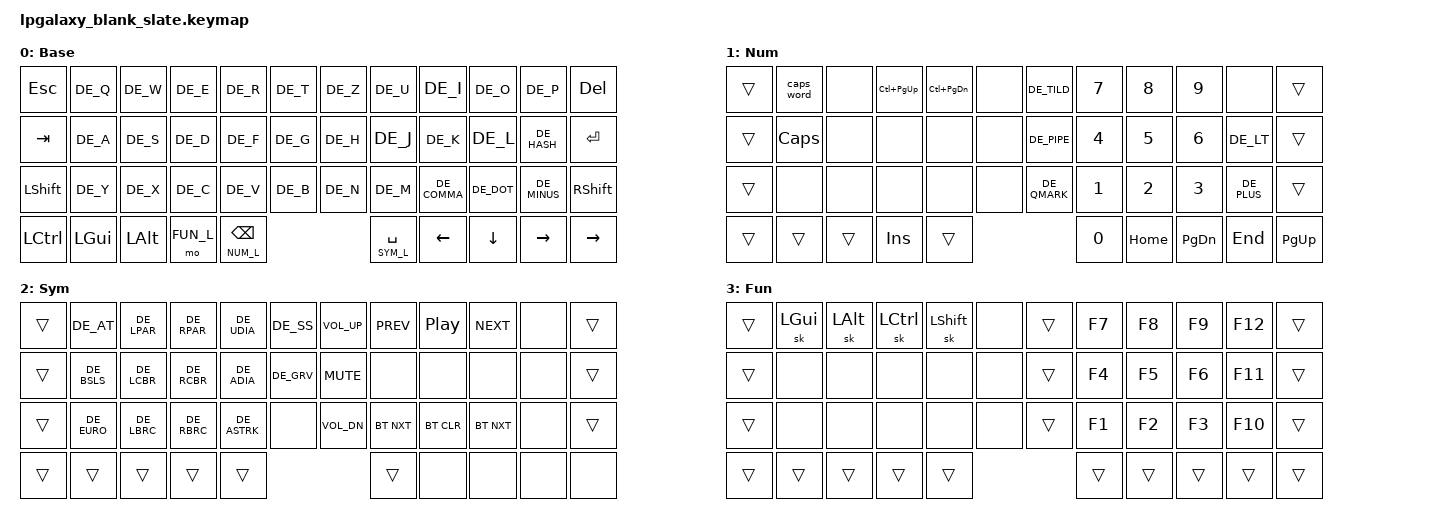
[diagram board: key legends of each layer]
/*
 * Copyright (c) 2022 Pete Johanson
 *
 * SPDX-License-Identifier: MIT
 */

#include <behaviors.dtsi>
#include <dt-bindings/zmk/keys.h>
#include <dt-bindings/zmk/bt.h>
#include <dt-bindings/zmk/outputs.h>
#include "keys_de.h"

#define NUM_L 1
#define SYM_L 2
#define FUN_L 3

// Using layer taps on thumbs, having quick tap as well helps w/ repeating space/backspace
&lt { quick_tap_ms = <190>; };

&caps_word {
    continue-list = <UNDERSCORE MINUS BSPC DEL>;
};

/ {
    chosen {
       zmk,matrix_transform =
                       &dual_2u_transform;
    };

    keymap {
        compatible = "zmk,keymap";

        base_layer {
            label = "Base";
            bindings = <
&kp ESC    &kp DE_Q      &kp DE_W      &kp DE_E       &kp DE_R          &kp DE_T          &kp DE_Z            &kp DE_U          &kp DE_I       &kp DE_O      &kp DE_P         &kp DEL
&kp TAB    &kp DE_A      &kp DE_S      &kp DE_D       &kp DE_F          &kp DE_G          &kp DE_H            &kp DE_J          &kp DE_K       &kp DE_L      &kp DE_HASH      &kp RET
&kp LSHFT  &kp DE_Y      &kp DE_X      &kp DE_C       &kp DE_V          &kp DE_B          &kp DE_N            &kp DE_M          &kp DE_COMMA   &kp DE_DOT    &kp DE_MINUS     &kp RSHIFT
&kp LCTRL  &kp LGUI      &kp LALT      &mo FUN_L      &lt NUM_L BSPC                                          &lt SYM_L SPACE   &kp LEFT       &kp DOWN      &kp RIGHT        &kp RIGHT
            >;
        };

        num_layer {
            label = "Num";
            bindings = <
&trans     &caps_word    &none         &kp LC(PG_UP)  &kp LC(PG_DN)     &none             &kp DE_TILD         &kp N7            &kp N8         &kp N9        &none            &trans
&trans     &kp CLCK      &none         &none          &none             &none             &kp DE_PIPE         &kp N4            &kp N5         &kp N6        &kp DE_LT        &trans
&trans     &none         &none         &none          &none             &none             &kp DE_QMARK        &kp N1            &kp N2         &kp N3        &kp DE_PLUS      &trans
&trans     &trans        &trans        &kp INS        &trans                                                  &kp N0            &kp HOME       &kp PG_DN     &kp END          &kp PG_UP
            >;
        };

        sym_layer {
            label = "Sym";
            bindings = <
&trans     &kp DE_AT     &kp DE_LPAR   &kp DE_RPAR    &kp DE_UDIA       &kp DE_SS        &kp C_VOL_UP        &kp C_PREV        &kp C_PP       &kp C_NEXT    &none           &trans
&trans     &kp DE_BSLS   &kp DE_LCBR   &kp DE_RCBR    &kp DE_ADIA       &kp DE_GRV       &kp C_MUTE          &none             &none          &none         &none           &trans
&trans     &kp DE_EURO   &kp DE_LBRC   &kp DE_RBRC    &kp DE_ASTRK      &none            &kp C_VOL_DN        &bt BT_NXT        &bt BT_CLR     &bt BT_NXT    &none           &trans
&trans     &trans        &trans        &trans         &trans                                                 &trans            &none          &none         &none           &none
            >;
        };


        fun_layer {
            label = "Fun";
            bindings = <
&trans     &sk LGUI      &sk LALT      &sk LCTRL      &sk LSHFT         &none             &trans              &kp F7            &kp F8         &kp F9        &kp F12          &trans
&trans     &none         &none         &none          &none             &none             &trans              &kp F4            &kp F5         &kp F6        &kp F11          &trans
&trans     &none         &none         &none          &none             &none             &trans              &kp F1            &kp F2         &kp F3        &kp F10          &trans
&trans     &trans        &trans        &trans         &trans                                                  &trans            &trans         &trans        &trans           &trans
            >;
        };

    };
};
